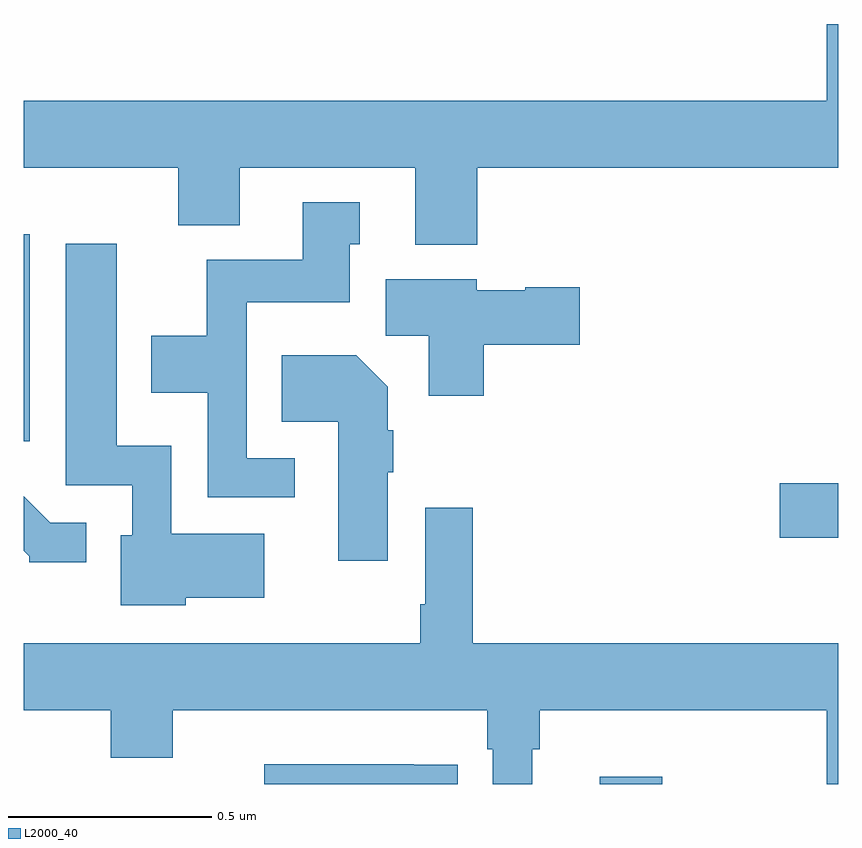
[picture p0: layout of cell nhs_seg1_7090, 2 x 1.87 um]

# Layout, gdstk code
import gdstk
lib = gdstk.Library(unit=1e-6, precision=1e-09)
def R(c, l, rs):  # rectangles x0, y0, x1, y1
    for r in rs: c.add(gdstk.rectangle(r[:2], r[2:], *l))
def P(c, l, *ps):  # polygons
    for p in ps: c.add(gdstk.Polygon(p, *l))
L2000_40 = (2000, 40)

nhs_seg1_7090 = lib.new_cell('nhs_seg1_7090')
R(nhs_seg1_7090, L2000_40, [(200.414,570.199,200.568,570.217), (200.856,570.803,201,570.938), (199,571.041,199.015,571.549)])
P(nhs_seg1_7090, L2000_40, [(200.114,571.712),(201,571.712),(201,572.065),(200.972,572.065),(200.972,571.876),(199,571.876),(199,571.712),(199.379,571.712),(199.379,571.571),(199.531,571.571),(199.531,571.712),(199.961,571.712),(199.961,571.523),(200.114,571.523)],
  [(199.666,570.999),(199.548,570.999),(199.548,571.382),(199.801,571.382),(199.801,571.524),(199.825,571.524),(199.825,571.627),(199.685,571.627),(199.685,571.486),(199.45,571.486),(199.45,571.3),(199.313,571.3),(199.313,571.16),(199.452,571.16),(199.452,570.903),(199.666,570.903)],
  [(199.398,570.656),(199.591,570.656),(199.591,570.814),(199.362,570.814),(199.362,571.03),(199.228,571.03),(199.228,571.525),(199.103,571.525),(199.103,570.933),(199.266,570.933),(199.266,570.81),(199.238,570.81),(199.238,570.638),(199.398,570.638)],
  [(200.129,571.277),(200.365,571.277),(200.365,571.419),(200.232,571.419),(200.232,571.411),(200.112,571.411),(200.112,571.438),(199.889,571.438),(199.889,571.3),(199.994,571.3),(199.994,571.152),(200.129,571.152)],
  [(199.894,570.964),(199.907,570.964),(199.907,571.067),(199.894,571.067),(199.894,571.174),(199.816,571.252),(199.633,571.252),(199.633,571.088),(199.772,571.088),(199.772,570.747),(199.894,570.747)],
  [(199.153,570.84),(199.065,570.84),(199,570.905),(199,570.772),(199.014,570.758),(199.014,570.743),(199.153,570.743)],
  [(200.248,570.284),(200.267,570.284),(200.267,570.38),(200.972,570.38),(200.972,570.199),(201,570.199),(201,570.544),(200.102,570.544),(200.102,570.877),(199.986,570.877),(199.986,570.64),(199.974,570.64),(199.974,570.544),(199,570.544),(199,570.38),(199.214,570.38),(199.214,570.263),(199.366,570.263),(199.366,570.38),(200.138,570.38),(200.138,570.284),(200.151,570.284),(200.151,570.199),(200.248,570.199)],
  [(200.066,570.246),(199.958,570.246),(199.958,570.247),(199.59,570.247),(199.59,570.199),(200.066,570.199)])

lib.write_gds('nhs_seg1_7090.gds')
